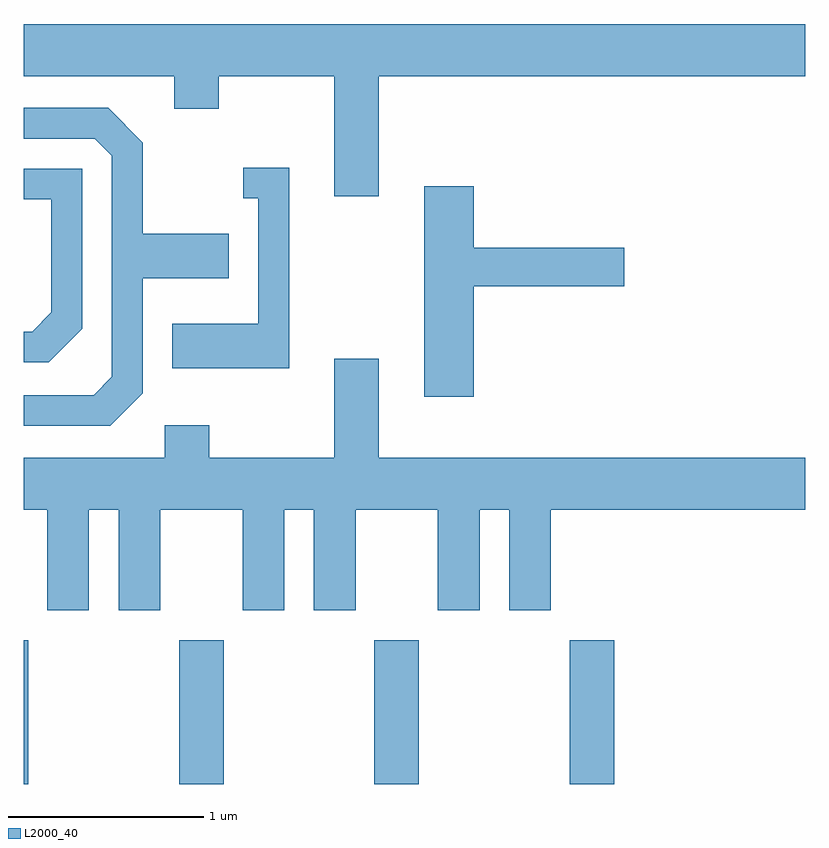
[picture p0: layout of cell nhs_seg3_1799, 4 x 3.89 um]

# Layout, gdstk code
import gdstk
lib = gdstk.Library(unit=1e-6, precision=1e-09)
def R(c, l, rs):  # rectangles x0, y0, x1, y1
    for r in rs: c.add(gdstk.rectangle(r[:2], r[2:], *l))
def A(c, l, x, y, w, h, nx, ny, dx, dy):  # array of equal rectangles
    R(c, l, [(x+i*dx, y+j*dy, x+i*dx+w, y+j*dy+h) for i in range(nx) for j in range(ny)])
def P(c, l, *ps):  # polygons
    for p in ps: c.add(gdstk.Polygon(p, *l))
L2000_40 = (2000, 40)

nhs_seg3_1799 = lib.new_cell('nhs_seg3_1799')
A(nhs_seg3_1799, L2000_40, 238.406, 1177.892, 0.228, 0.737, 3, 1, 1, 0)
R(nhs_seg3_1799, L2000_40, [(237.611,1177.892,237.634,1178.629)])
P(nhs_seg3_1799, L2000_40, [(239.429,1181.516),(241.611,1181.516),(241.611,1181.784),(237.611,1181.784),(237.611,1181.516),(238.381,1181.516),(238.381,1181.351),(238.609,1181.351),(238.609,1181.516),(239.201,1181.516),(239.201,1180.901),(239.429,1180.901)],
  [(238.219,1179.894),(238.219,1180.481),(238.659,1180.481),(238.659,1180.709),(238.219,1180.709),(238.219,1181.177),(238.042,1181.354),(237.611,1181.354),(237.611,1181.196),(237.974,1181.196),(238.061,1181.109),(238.061,1179.977),(237.969,1179.884),(237.611,1179.884),(237.611,1179.726),(238.052,1179.726)],
  [(238.969,1181.049),(238.733,1181.049),(238.733,1180.891),(238.811,1180.891),(238.811,1180.249),(238.371,1180.249),(238.371,1180.021),(238.969,1180.021)],
  [(237.909,1180.224),(237.909,1181.044),(237.611,1181.044),(237.611,1180.886),(237.751,1180.886),(237.751,1180.307),(237.654,1180.209),(237.611,1180.209),(237.611,1180.051),(237.737,1180.051)],
  [(239.914,1180.441),(240.684,1180.441),(240.684,1180.639),(239.914,1180.639),(239.914,1180.954),(239.661,1180.954),(239.661,1179.876),(239.914,1179.876)],
  [(239.429,1180.069),(239.201,1180.069),(239.201,1179.564),(238.559,1179.564),(238.559,1179.729),(238.331,1179.729),(238.331,1179.564),(237.611,1179.564),(237.611,1179.296),(237.731,1179.296),(237.731,1178.781),(237.944,1178.781),(237.944,1179.296),(238.096,1179.296),(238.096,1178.781),(238.309,1178.781),(238.309,1179.296),(238.731,1179.296),(238.731,1178.781),(238.944,1178.781),(238.944,1179.296),(239.096,1179.296),(239.096,1178.781),(239.309,1178.781),(239.309,1179.296),(239.731,1179.296),(239.731,1178.781),(239.944,1178.781),(239.944,1179.296),(240.096,1179.296),(240.096,1178.781),(240.309,1178.781),(240.309,1179.296),(241.611,1179.296),(241.611,1179.564),(239.429,1179.564)])

lib.write_gds('nhs_seg3_1799.gds')
